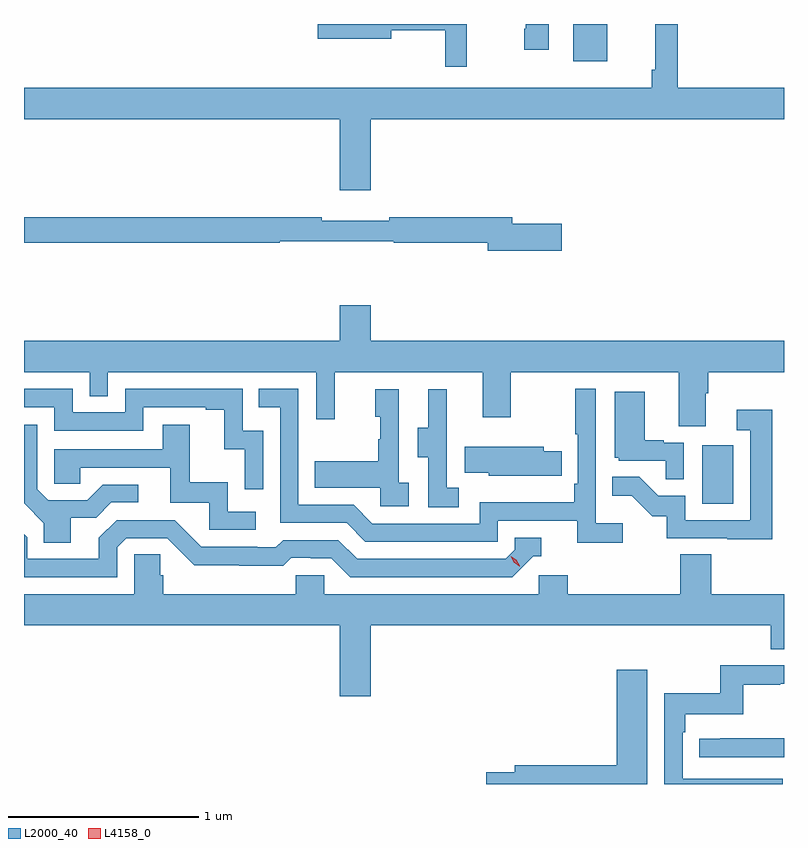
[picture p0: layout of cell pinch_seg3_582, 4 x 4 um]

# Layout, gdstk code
import gdstk
lib = gdstk.Library(unit=1e-6, precision=1e-09)
def R(c, l, rs):  # rectangles x0, y0, x1, y1
    for r in rs: c.add(gdstk.rectangle(r[:2], r[2:], *l))
def P(c, l, *ps):  # polygons
    for p in ps: c.add(gdstk.Polygon(p, *l))
L2000_40 = (2000, 40)
L4158_0 = (4158, 0)

pinch_seg3_582 = lib.new_cell('pinch_seg3_582')
R(pinch_seg3_582, L2000_40, [(1066.016,701.556,1066.18,701.863), (1065.338,703.883,1065.517,704.08)])
P(pinch_seg3_582, L2000_40, [(1064.776,704.08),(1063.992,704.08),(1063.992,704.003),(1064.38,704.003),(1064.38,704.046),(1064.662,704.046),(1064.662,703.854),(1064.776,703.854)],
  [(1064.272,703.58),(1066.446,703.58),(1066.446,703.744),(1065.887,703.744),(1065.887,704.08),(1065.769,704.08),(1065.769,703.84),(1065.751,703.84),(1065.751,703.744),(1062.446,703.744),(1062.446,703.58),(1064.108,703.58),(1064.108,703.206),(1064.272,703.206)],
  [(1065.208,704.08),(1065.086,704.08),(1065.086,704.056),(1065.079,704.056),(1065.079,703.944),(1065.208,703.944)],
  [(1065.277,703.028),(1065.016,703.028),(1065.016,703.064),(1064.368,703.064),(1064.368,703.045),(1064.012,703.045),(1064.012,703.064),(1062.446,703.064),(1062.446,702.928),(1063.792,702.928),(1063.792,702.936),(1064.392,702.936),(1064.392,702.928),(1064.888,702.928),(1064.888,702.886),(1065.277,702.886)],
  [(1066.033,702.136),(1066.046,702.136),(1066.046,702.248),(1066.446,702.248),(1066.446,702.412),(1064.272,702.412),(1064.272,702.601),(1064.108,702.601),(1064.108,702.412),(1062.446,702.412),(1062.446,702.248),(1062.792,702.248),(1062.792,702.121),(1062.888,702.121),(1062.888,702.248),(1063.983,702.248),(1063.983,702),(1064.081,702),(1064.081,702.248),(1064.861,702.248),(1064.861,702.009),(1065.009,702.009),(1065.009,702.248),(1065.893,702.248),(1065.893,701.962),(1066.033,701.962)],
  [(1065.598,701.452),(1065.456,701.452),(1065.456,702.16),(1065.348,702.16),(1065.348,701.92),(1065.36,701.92),(1065.36,701.659),(1065.343,701.659),(1065.343,701.563),(1064.844,701.563),(1064.844,701.451),(1064.28,701.451),(1064.181,701.55),(1063.89,701.55),(1063.89,702.159),(1063.681,702.159),(1063.681,702.063),(1063.794,702.063),(1063.794,701.454),(1064.144,701.454),(1064.243,701.355),(1064.94,701.355),(1064.94,701.466),(1065.359,701.466),(1065.359,701.35),(1065.598,701.35)],
  [(1063.704,701.94),(1063.596,701.94),(1063.596,702.159),(1062.978,702.159),(1062.978,702.036),(1062.702,702.036),(1062.702,702.159),(1062.446,702.159),(1062.446,702.063),(1062.606,702.063),(1062.606,701.94),(1063.074,701.94),(1063.074,702.063),(1063.403,702.063),(1063.403,702.051),(1063.499,702.051),(1063.499,701.843),(1063.608,701.843),(1063.608,701.631),(1063.704,701.631)],
  [(1064.734,701.639),(1064.67,701.639),(1064.67,701.943),(1064.672,701.943),(1064.672,702.157),(1064.573,702.157),(1064.573,701.955),(1064.519,701.955),(1064.519,701.8),(1064.574,701.8),(1064.574,701.536),(1064.734,701.536)],
  [(1064.47,701.666),(1064.418,701.666),(1064.418,702.157),(1064.294,702.157),(1064.294,702.012),(1064.32,702.012),(1064.32,701.894),(1064.31,701.894),(1064.31,701.779),(1063.975,701.779),(1063.975,701.639),(1064.322,701.639),(1064.322,701.541),(1064.47,701.541)],
  [(1065.918,701.877),(1065.812,701.877),(1065.812,701.89),(1065.712,701.89),(1065.712,702.145),(1065.554,702.145),(1065.554,701.796),(1065.576,701.796),(1065.576,701.781),(1065.823,701.781),(1065.823,701.683),(1065.918,701.683)],
  [(1066.385,702.049),(1066.197,702.049),(1066.197,701.943),(1066.269,701.943),(1066.269,701.469),(1065.927,701.469),(1065.927,701.598),(1065.783,701.598),(1065.685,701.696),(1065.541,701.696),(1065.541,701.597),(1065.645,701.597),(1065.752,701.49),(1065.829,701.49),(1065.829,701.373),(1066.147,701.373),(1066.147,701.368),(1066.385,701.368)],
  [(1063.666,701.514),(1063.518,701.514),(1063.518,701.668),(1063.319,701.668),(1063.319,701.971),(1063.175,701.971),(1063.175,701.841),(1062.606,701.841),(1062.606,701.661),(1062.743,701.661),(1062.743,701.745),(1063.217,701.745),(1063.217,701.559),(1063.422,701.559),(1063.422,701.418),(1063.666,701.418)],
  [(1062.691,701.482),(1062.826,701.482),(1062.906,701.562),(1063.048,701.562),(1063.048,701.655),(1062.86,701.655),(1062.779,701.574),(1062.573,701.574),(1062.516,701.631),(1062.516,701.971),(1062.446,701.971),(1062.446,701.557),(1062.551,701.452),(1062.551,701.35),(1062.691,701.35)],
  [(1065.164,701.703),(1065.275,701.703),(1065.275,701.832),(1065.181,701.832),(1065.181,701.854),(1064.767,701.854),(1064.767,701.717),(1064.892,701.717),(1064.892,701.702),(1065.164,701.702)],
  [(1062.936,701.325),(1062.984,701.373),(1063.2,701.373),(1063.342,701.231),(1063.578,701.231),(1063.578,701.229),(1063.811,701.229),(1063.853,701.271),(1063.956,701.271),(1063.956,701.268),(1064.063,701.268),(1064.162,701.169),(1065.015,701.169),(1065.126,701.28),(1065.169,701.28),(1065.169,701.376),(1065.03,701.376),(1065.03,701.313),(1064.982,701.265),(1064.199,701.265),(1064.1,701.364),(1063.811,701.364),(1063.772,701.325),(1063.673,701.325),(1063.673,701.328),(1063.38,701.328),(1063.239,701.469),(1062.933,701.469),(1062.839,701.375),(1062.839,701.265),(1062.462,701.265),(1062.462,701.379),(1062.446,701.395),(1062.446,701.169),(1062.936,701.169)],
  [(1064.272,700.916),(1066.375,700.916),(1066.375,700.789),(1066.446,700.789),(1066.446,701.08),(1066.064,701.08),(1066.064,701.288),(1065.899,701.288),(1065.899,701.08),(1065.308,701.08),(1065.308,701.178),(1065.156,701.178),(1065.156,701.08),(1064.025,701.08),(1064.025,701.178),(1063.875,701.178),(1063.875,701.08),(1063.178,701.08),(1063.178,701.178),(1063.163,701.178),(1063.163,701.288),(1063.026,701.288),(1063.026,701.08),(1062.446,701.08),(1062.446,700.916),(1064.108,700.916),(1064.108,700.542),(1064.272,700.542)],
  [(1066.439,700.108),(1066.225,700.108),(1066.225,700.107),(1065.912,700.107),(1065.912,700.352),(1065.926,700.352),(1065.926,700.448),(1066.231,700.448),(1066.231,700.603),(1066.427,700.603),(1066.427,700.608),(1066.446,700.608),(1066.446,700.704),(1066.11,700.704),(1066.11,700.558),(1065.816,700.558),(1065.816,700.08),(1066.439,700.08)],
  [(1065.727,700.681),(1065.566,700.681),(1065.566,700.178),(1065.029,700.178),(1065.029,700.142),(1064.88,700.142),(1064.88,700.08),(1065.727,700.08)],
  [(1066.446,700.322),(1066.111,700.322),(1066.111,700.317),(1065.999,700.317),(1065.999,700.221),(1066.446,700.221)])
P(pinch_seg3_582, L4158_0, [(1065.053,701.227),(1065.023,701.247),(1065.007,701.28),(1065.007,701.28),(1065.007,701.28),(1065.038,701.26),(1065.054,701.228),(1065.054,701.227)])

lib.write_gds('pinch_seg3_582.gds')
